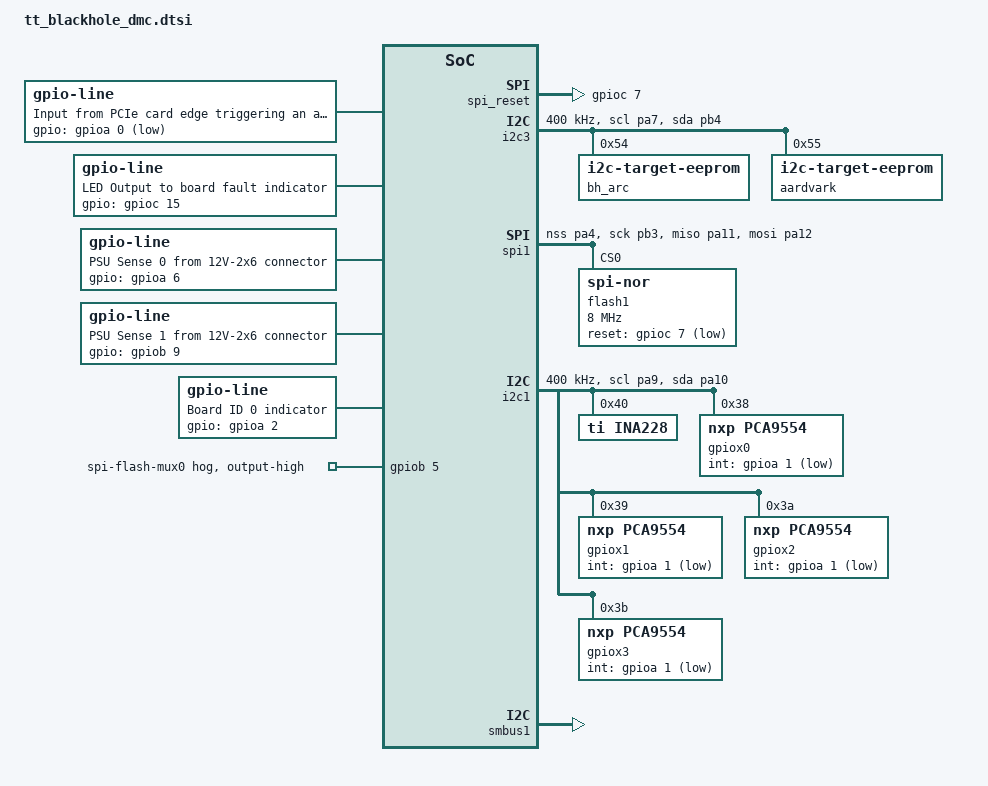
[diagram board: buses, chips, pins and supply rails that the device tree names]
/*
 * Copyright (c) 2024 Tenstorrent AI ULC
 *
 * SPDX-License-Identifier: Apache-2.0
 */

/ {
	chip0: chip0 {
		compatible = "tenstorrent,bh-chip";

		asic_reset {
			compatible = "zephyr,gpio-line";
			label = "Line to asic reset";
			gpios = <&gpiob 0 GPIO_ACTIVE_LOW>;
		};

		spi_reset {
			compatible = "zephyr,gpio-line";
			label = "Line to spi reset";
			gpios = <&gpioc 7 GPIO_ACTIVE_LOW>;
		};

		pgood {
			compatible = "zephyr,gpio-line";
			label = "Power good indicator";
			gpios = <&gpioc 14 GPIO_PULL_DOWN>;
		};

		therm_trip {
			compatible = "zephyr,gpio-line";
			label = "Thermal trip indicator";
			gpios = <&gpioc 13 GPIO_ACTIVE_HIGH>;
		};

		flash = <&flash1>;
		spi_mux {
			compatible = "zephyr,gpio-line";
			label = "Line to spi mux, drive low to enable dmfw -> eeprom";
			gpios = <&gpiob 5 GPIO_ACTIVE_LOW>;
		};

		arc = <&chip0_arc>;
	};

	preset_trigger {
		compatible = "zephyr,gpio-line";
		label = "Input from PCIe card edge triggering an asic reset";
		gpios = <&gpioa 0 (GPIO_ACTIVE_LOW | GPIO_PULL_UP)>;
	};

	board_fault_led {
		compatible = "zephyr,gpio-line";
		label = "LED Output to board fault indicator";
		gpios = <&gpioc 15 GPIO_ACTIVE_HIGH>;
	};

	psu_sense0 {
		compatible = "zephyr,gpio-line";
		label = "PSU Sense 0 from 12V-2x6 connector";
		gpios = <&gpioa 6 GPIO_ACTIVE_HIGH>;
	};

	psu_sense1 {
		compatible = "zephyr,gpio-line";
		label = "PSU Sense 1 from 12V-2x6 connector";
		gpios = <&gpiob 9 GPIO_ACTIVE_HIGH>;
	};

	board_id0 {
		compatible = "zephyr,gpio-line";
		label = "Board ID 0 indicator";
		gpios = <&gpioa 2 GPIO_ACTIVE_HIGH>;
	};
};

&clk_lsi {
	clock-frequency = <DT_FREQ_K(32)>;
	status = "okay";
};

&clk_hsi {
	clock-frequency = <DT_FREQ_M(16)>;
	status = "okay";
};

&pll {
	clocks = <&clk_hsi>;
	div-m = <1>;
	mul-n = <8>;
	div-r = <2>;
	div-q = <2>;
	div-p = <2>;
	status = "okay";
};

&rcc {
	clocks = <&pll>;
	clock-frequency = <DT_FREQ_M(64)>;
	ahb-prescaler = <1>;
	apb1-prescaler = <1>;
};

&i2c3 {
	pinctrl-0 = <&i2c3_scl_pa7 &i2c3_sda_pb4>;
	pinctrl-names = "default";
	status = "okay";
	clock-frequency = <I2C_BITRATE_FAST>;

	scl-gpios = <&gpioa 7 GPIO_OPEN_DRAIN>;
	sda-gpios = <&gpiob 4 GPIO_OPEN_DRAIN>;

	bh_arc: i2c@54 {
		compatible = "zephyr,i2c-target-eeprom";
		reg = <0x54>;
		status = "okay";
	};

	aardvark: eeprom@55 {
		compatible = "zephyr,i2c-target-eeprom";
		reg = <0x55>;
		status = "okay";
	};
};

&gpiob {
	status = "okay";

	spi-flash-mux0 {
		gpio-hog;
		gpios = <5 GPIO_ACTIVE_HIGH>;
		output-high;
	};
};

&spi1 {
	pinctrl-0 = <&spi1_nss_pa4 &spi1_sck_pb3
			 &spi1_miso_pa11 &spi1_mosi_pa12>;
	pinctrl-names = "default";
	status = "okay";

	flash1: flash@0 {
		/* base properties */
		compatible = "jedec,spi-nor";
		status = "okay";

		reset-gpios = <&gpioc 7 (GPIO_ACTIVE_LOW | GPIO_PULL_UP)>;

		/* spi-device properties */
		reg = <0>;
		spi-max-frequency = <7999999>;
		spi-cpol;
		spi-cpha;

		/* jedec,spi-nor properties */
		size = <DT_SIZE_M(512)>; /* Size in bits */

		/* jedec,spi-nor-common properties */
		has-dpd;
		t-enter-dpd = <3000>;
		t-exit-dpd = <30000>;
		jedec-id = [20 bb 20];
	};
};

&flash0 {
	/* TODO:
	 * Move slot1_partition to spi flash.
	 * Ensure main flash erase size agrees with minimal subsector erase size of SPI flash,
	 * i.e. 4096 bytes. Currently sectors are 2048 bytes on stm32g071rb and this value is
	 * likely hard-coded in several places.
	 */
	/* erase-block-size = <4096>; */

	partitions {
		compatible = "fixed-partitions";
		#address-cells = <1>;
		#size-cells = <1>;

		boot_partition: partition@0 {
			label = "mcuboot";
			reg = <0x00000000 DT_SIZE_K(48)>;
			read-only;
		};

		slot0_partition: partition@c000 {
			label = "image-0";
			reg = <0x0000c000 (DT_SIZE_K(230) + DT_SIZE_K(2))>;
		};

		slot1_partition: partition@46000 {
			label = "image-1";
			reg = <0x00046000 (DT_SIZE_K(230))>;
		};
	};
};

&i2c1 {
	pinctrl-0 = <&i2c1_scl_pa9 &i2c1_sda_pa10>;
	pinctrl-names = "default";
	status = "okay";
	clock-frequency = <I2C_BITRATE_FAST>;

	ina228: ina228@40 {
		compatible = "ti,ina228";
		reg = <0x40>;
		status = "okay";
		/* max_current / (2^19) */
		current-lsb-microamps = <210>;
		rshunt-micro-ohms = <1000>;
	};

	gpiox0: gpio@38 {
		compatible = "nxp,pca9554";
		reg = <0x38>;
		status = "okay";
		ngpios = <8>;
		/* external pull-up to 1.8V */
		int-gpios = <&gpioa 1 GPIO_ACTIVE_LOW>;

		gpio-controller;
		#gpio-cells = <2>;
	};

	gpiox1: gpio@39 {
		compatible = "nxp,pca9554";
		reg = <0x39>;
		status = "okay";
		ngpios = <8>;
		/* external pull-up to 1.8V */
		int-gpios = <&gpioa 1 GPIO_ACTIVE_LOW>;

		gpio-controller;
		#gpio-cells = <2>;
	};

	gpiox2: gpio@3a {
		compatible = "nxp,pca9554";
		reg = <0x3a>;
		status = "okay";
		ngpios = <8>;
		/* external pull-up to 1.8V */
		int-gpios = <&gpioa 1 GPIO_ACTIVE_LOW>;

		gpio-controller;
		#gpio-cells = <2>;
	};

	gpiox3: gpio@3b {
		compatible = "nxp,pca9554";
		reg = <0x3b>;
		status = "okay";
		ngpios = <8>;
		/* external pull-up to 1.8V */
		int-gpios = <&gpioa 1 GPIO_ACTIVE_LOW>;

		gpio-controller;
		#gpio-cells = <2>;
	};
};

&smbus1 {
	status = "okay";
};
